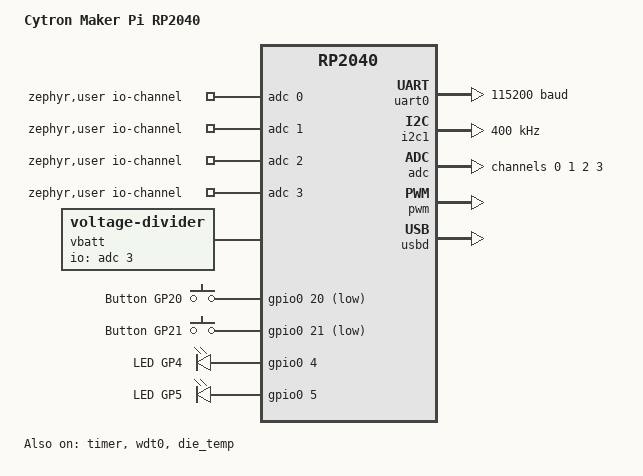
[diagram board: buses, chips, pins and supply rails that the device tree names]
/*
 * Copyright (c) 2021 Yonatan Schachter
 * Copyright (c) 2022 Peter Johanson
 * Copyright (c) 2025 Jonas Berg
 *
 * SPDX-License-Identifier: Apache-2.0
 */

/dts-v1/;

#include <raspberrypi/rpi_pico/rp2040.dtsi>
#include <zephyr/dt-bindings/pinctrl/rpi-pico-rp2040-pinctrl.h>
#include <zephyr/dt-bindings/input/input-event-codes.h>
#include <zephyr/dt-bindings/led/led.h>
#include "maker_pi_rp2040-pinctrl.dtsi"
#include "grove_connectors.dtsi"

/ {
	model = "Cytron Maker Pi RP2040";
	compatible = "cytron,maker_pi_rp2040";

	chosen {
		zephyr,sram = &sram0;
		zephyr,flash = &flash0;
		zephyr,flash-controller = &ssi;
		zephyr,console = &uart0;
		zephyr,shell-uart = &uart0;
		zephyr,code-partition = &code_partition;
	};

	aliases {
		led-strip = &ws2812;
		led0 = &led_gp4;
		led1 = &led_gp5;
		sw0 = &button_gp20;
		sw1 = &button_gp21;
		watchdog0 = &wdt0;
	};

	zephyr,user {
		io-channels = <&adc 0>, <&adc 1>, <&adc 2>, <&adc 3>;
	};

	vbatt: vbatt {
		compatible = "voltage-divider";
		io-channels = <&adc 3>;
		output-ohms = <10000>;
		full-ohms = <(10000 + 10000)>;
	};

	gpio_keys {
		compatible = "gpio-keys";

		button_gp20: button_gp20 {
			label = "Button GP20";
			gpios = <&gpio0 20 (GPIO_ACTIVE_LOW | GPIO_PULL_UP)>;
			zephyr,code = <INPUT_KEY_0>;
		};

		button_gp21: button_gp21 {
			label = "Button GP21";
			gpios = <&gpio0 21 (GPIO_ACTIVE_LOW | GPIO_PULL_UP)>;
			zephyr,code = <INPUT_KEY_1>;
		};
	};

	leds: leds {
		compatible = "gpio-leds";

		led_gp4: led_gp4 {
			gpios = <&gpio0 4 GPIO_ACTIVE_HIGH>;
			label = "LED GP4";
		};

		led_gp5: led_gp5 {
			gpios = <&gpio0 5 GPIO_ACTIVE_HIGH>;
			label = "LED GP5";
		};
	};
};

&flash0 {
	reg = <0x10000000 DT_SIZE_M(2)>;
	ranges = <0x0 0x10000000 DT_SIZE_M(2)>;

	partitions {
		compatible = "fixed-partitions";
		#address-cells = <1>;
		#size-cells = <1>;
		ranges;

		/* Reserved memory for the second stage bootloader */
		second_stage_bootloader: partition@0 {
			label = "second_stage_bootloader";
			reg = <0x00000000 0x100>;
			read-only;
		};

		/*
		 * Usable flash. Starts at 0x100, after the bootloader. The partition
		 * size is 2 MB minus the 0x100 bytes taken by the bootloader.
		 */
		code_partition: partition@100 {
			label = "code-partition";
			reg = <0x100 (DT_SIZE_M(2) - 0x100)>;
			read-only;
		};
	};
};

&gpio0 {
	status = "okay";
};

&uart0 {
	current-speed = <115200>;
	status = "okay";
	pinctrl-0 = <&uart0_default>;
	pinctrl-names = "default";
};

zephyr_i2c: &i2c1 {
	status = "okay";
	pinctrl-0 = <&i2c1_default>;
	pinctrl-names = "default";
	clock-frequency = <I2C_BITRATE_FAST>;
};

&timer {
	status = "okay";
};

&wdt0 {
	status = "okay";
};

&adc {
	status = "okay";
	pinctrl-0 = <&adc_default>;
	pinctrl-names = "default";
	#address-cells = <1>;
	#size-cells = <0>;

	channel@0 {
		reg = <0>;
		zephyr,gain = "ADC_GAIN_1";
		zephyr,reference = "ADC_REF_INTERNAL";
		zephyr,acquisition-time = <ADC_ACQ_TIME_DEFAULT>;
		zephyr,resolution = <12>;
	};

	channel@1 {
		reg = <1>;
		zephyr,gain = "ADC_GAIN_1";
		zephyr,reference = "ADC_REF_INTERNAL";
		zephyr,acquisition-time = <ADC_ACQ_TIME_DEFAULT>;
		zephyr,resolution = <12>;
	};

	channel@2 {
		reg = <2>;
		zephyr,gain = "ADC_GAIN_1";
		zephyr,reference = "ADC_REF_INTERNAL";
		zephyr,acquisition-time = <ADC_ACQ_TIME_DEFAULT>;
		zephyr,resolution = <12>;
	};

	channel@3 {
		reg = <3>;
		zephyr,gain = "ADC_GAIN_1";
		zephyr,reference = "ADC_REF_INTERNAL";
		zephyr,acquisition-time = <ADC_ACQ_TIME_DEFAULT>;
		zephyr,resolution = <12>;
	};
};

&pwm {
	pinctrl-0 = <&pwm_default>;
	pinctrl-names = "default";
	status = "okay";
};

&pio0 {
	status = "okay";

	pio-ws2812 {
		compatible = "worldsemi,ws2812-rpi_pico-pio";
		status = "okay";
		pinctrl-0 = <&ws2812_pio0_default>;
		pinctrl-names = "default";
		bit-waveform = <3>, <3>, <4>;

		ws2812: ws2812 {
			status = "okay";
			gpios = <&gpio0 18 GPIO_ACTIVE_HIGH>;
			chain-length = <2>;
			color-mapping = <LED_COLOR_ID_GREEN
					 LED_COLOR_ID_RED
					 LED_COLOR_ID_BLUE>;
			reset-delay = <280>;
			frequency = <800000>;
		};
	};
};

zephyr_udc0: &usbd {
	status = "okay";
};

&die_temp {
	status = "okay";
};

&vreg {
	regulator-always-on;
	regulator-allowed-modes = <REGULATOR_RPI_PICO_MODE_NORMAL>;
};

&xosc {
	startup-delay-multiplier = <64>;
};
